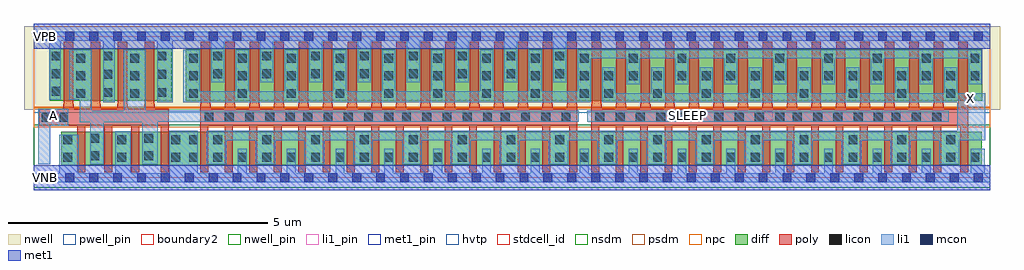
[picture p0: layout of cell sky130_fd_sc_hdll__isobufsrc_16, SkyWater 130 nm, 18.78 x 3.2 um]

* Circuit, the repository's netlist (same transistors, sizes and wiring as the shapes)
* Copyright 2020 The SkyWater PDK Authors
*
* Licensed under the Apache License, Version 2.0 (the "License");
* you may not use this file except in compliance with the License.
* You may obtain a copy of the License at
*
*     https://www.apache.org/licenses/LICENSE-2.0
*
* Unless required by applicable law or agreed to in writing, software
* distributed under the License is distributed on an "AS IS" BASIS,
* WITHOUT WARRANTIES OR CONDITIONS OF ANY KIND, either express or implied.
* See the License for the specific language governing permissions and
* limitations under the License.
*
* SPDX-License-Identifier: Apache-2.0

.SUBCKT sky130_fd_sc_hdll__isobufsrc_16 A SLEEP VGND VNB VPB VPWR X
*.PININFO A:I SLEEP:I VGND:I VNB:I VPB:I VPWR:I X:O
MMP0 VPWR Ab sndPA VPB sky130_fd_pr__pfet_01v8_hvt m=16 w=1.0U l=0.18U mult=1 sa=0.265
+ sb=0.265 sd=0.28 area=0.063 perim=1.14
MMP1 sndPA SLEEP X VPB sky130_fd_pr__pfet_01v8_hvt m=16 w=1.0U l=0.18U mult=1 sa=0.265
+ sb=0.265 sd=0.28 area=0.063 perim=1.14
MMIP1 Ab A VPWR VPB sky130_fd_pr__pfet_01v8_hvt m=4 w=1.0U l=0.18U mult=1 sa=0.265
+ sb=0.265 sd=0.28 area=0.063 perim=1.14
MMN0 X SLEEP VGND VNB sky130_fd_pr__nfet_01v8 m=16 w=0.65U l=0.15U mult=1 sa=0.265
+ sb=0.265 sd=0.28 area=0.063 perim=1.14
MMN1 X Ab VGND VNB sky130_fd_pr__nfet_01v8 m=16 w=0.65U l=0.15U mult=1 sa=0.265
+ sb=0.265 sd=0.28 area=0.063 perim=1.14
MMIN1 Ab A VGND VNB sky130_fd_pr__nfet_01v8 m=4 w=0.65U l=0.15U mult=1 sa=0.265
+ sb=0.265 sd=0.28 area=0.063 perim=1.14
.ENDS sky130_fd_sc_hdll__isobufsrc_16

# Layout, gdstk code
import gdstk
lib = gdstk.Library(unit=1e-6, precision=1e-09)
def R(c, l, rs):  # rectangles x0, y0, x1, y1
    for r in rs: c.add(gdstk.rectangle(r[:2], r[2:], *l))
def A(c, l, x, y, w, h, nx, ny, dx, dy):  # array of equal rectangles
    R(c, l, [(x+i*dx, y+j*dy, x+i*dx+w, y+j*dy+h) for i in range(nx) for j in range(ny)])
def P(c, l, *ps):  # polygons
    for p in ps: c.add(gdstk.Polygon(p, *l))
nwell_pin = (64, 16)
nwell = (64, 20)
diff = (65, 20)
poly = (66, 20)
licon = (66, 44)
li1_pin = (67, 16)
li1 = (67, 20)
mcon = (67, 44)
met1_pin = (68, 16)
met1 = (68, 20)
hvtp = (78, 44)
stdcell_id = (81, 4)
nsdm = (93, 44)
psdm = (94, 20)
npc = (95, 20)
pwell_pin = (122, 16)
boundary2 = (236, 0)

sky130_fd_sc_hdll__isobu = lib.new_cell('sky130_fd_sc_hdll__isobufsrc_16')
R(sky130_fd_sc_hdll__isobu, nwell_pin, [(0.145,2.635,0.315,2.805)])
R(sky130_fd_sc_hdll__isobu, nwell, [(-0.19,1.305,18.59,2.91)])
R(sky130_fd_sc_hdll__isobu, diff, [(0.525,0.235,18.235,0.885), (0.305,1.485,2.655,2.485), (2.925,1.485,18.245,2.485)])
P(sky130_fd_sc_hdll__isobu, poly, [(2.595,1.325),(2.325,1.325),(2.325,1.41),(2.315,1.41),(2.315,2.615),(2.135,2.615),(2.135,1.41),(2.125,1.41),(2.125,1.325),(1.805,1.325),(1.805,1.41),(1.795,1.41),(1.795,2.615),(1.615,2.615),(1.615,1.41),(1.605,1.41),(1.605,1.325),(1.285,1.325),(1.285,1.41),(1.275,1.41),(1.275,2.615),(1.095,2.615),(1.095,1.41),(1.085,1.41),(1.085,1.325),(0.765,1.325),(0.765,1.41),(0.755,1.41),(0.755,2.615),(0.575,2.615),(0.575,1.41),(0.565,1.41),(0.565,1.325),(0.105,1.325),(0.105,0.995),(0.835,0.995),(0.835,0.105),(0.985,0.105),(0.985,0.995),(1.355,0.995),(1.355,0.105),(1.505,0.105),(1.505,0.995),(1.875,0.995),(1.875,0.105),(2.025,0.105),(2.025,0.995),(2.445,0.995),(2.445,0.105),(2.595,0.105)],
  [(10.455,1.41),(10.445,1.41),(10.445,2.615),(10.265,2.615),(10.265,1.41),(10.255,1.41),(10.255,1.325),(9.985,1.325),(9.985,1.41),(9.975,1.41),(9.975,2.615),(9.795,2.615),(9.795,1.41),(9.785,1.41),(9.785,1.325),(9.515,1.325),(9.515,1.41),(9.505,1.41),(9.505,2.615),(9.325,2.615),(9.325,1.41),(9.315,1.41),(9.315,1.325),(9.045,1.325),(9.045,1.41),(9.035,1.41),(9.035,2.615),(8.855,2.615),(8.855,1.41),(8.845,1.41),(8.845,1.325),(8.575,1.325),(8.575,1.41),(8.565,1.41),(8.565,2.615),(8.385,2.615),(8.385,1.41),(8.375,1.41),(8.375,1.325),(8.105,1.325),(8.105,1.41),(8.095,1.41),(8.095,2.615),(7.915,2.615),(7.915,1.41),(7.905,1.41),(7.905,1.325),(7.635,1.325),(7.635,1.41),(7.625,1.41),(7.625,2.615),(7.445,2.615),(7.445,1.41),(7.435,1.41),(7.435,1.325),(7.165,1.325),(7.165,1.41),(7.155,1.41),(7.155,2.615),(6.975,2.615),(6.975,1.41),(6.965,1.41),(6.965,1.325),(6.695,1.325),(6.695,1.41),(6.685,1.41),(6.685,2.615),(6.505,2.615),(6.505,1.41),(6.495,1.41),(6.495,1.325),(6.225,1.325),(6.225,1.41),(6.215,1.41),(6.215,2.615),(6.035,2.615),(6.035,1.41),(6.025,1.41),(6.025,1.325),(5.755,1.325),(5.755,1.41),(5.745,1.41),(5.745,2.615),(5.565,2.615),(5.565,1.41),(5.555,1.41),(5.555,1.325),(5.285,1.325),(5.285,1.41),(5.275,1.41),(5.275,2.615),(5.095,2.615),(5.095,1.41),(5.085,1.41),(5.085,1.325),(4.815,1.325),(4.815,1.41),(4.805,1.41),(4.805,2.615),(4.625,2.615),(4.625,1.41),(4.615,1.41),(4.615,1.325),(4.345,1.325),(4.345,1.41),(4.335,1.41),(4.335,2.615),(4.155,2.615),(4.155,1.41),(4.145,1.41),(4.145,1.325),(3.875,1.325),(3.875,1.41),(3.865,1.41),(3.865,2.615),(3.685,2.615),(3.685,1.41),(3.675,1.41),(3.675,1.325),(3.405,1.325),(3.405,1.41),(3.395,1.41),(3.395,2.615),(3.215,2.615),(3.215,1.41),(3.205,1.41),(3.205,0.105),(3.355,0.105),(3.355,0.995),(3.675,0.995),(3.675,0.105),(3.825,0.105),(3.825,0.995),(4.145,0.995),(4.145,0.105),(4.295,0.105),(4.295,0.995),(4.615,0.995),(4.615,0.105),(4.765,0.105),(4.765,0.995),(5.085,0.995),(5.085,0.105),(5.235,0.105),(5.235,0.995),(5.555,0.995),(5.555,0.105),(5.705,0.105),(5.705,0.995),(6.025,0.995),(6.025,0.105),(6.175,0.105),(6.175,0.995),(6.495,0.995),(6.495,0.105),(6.645,0.105),(6.645,0.995),(6.965,0.995),(6.965,0.105),(7.115,0.105),(7.115,0.995),(7.435,0.995),(7.435,0.105),(7.585,0.105),(7.585,0.995),(7.905,0.995),(7.905,0.105),(8.055,0.105),(8.055,0.995),(8.375,0.995),(8.375,0.105),(8.525,0.105),(8.525,0.995),(8.845,0.995),(8.845,0.105),(8.995,0.105),(8.995,0.995),(9.315,0.995),(9.315,0.105),(9.465,0.105),(9.465,0.995),(9.785,0.995),(9.785,0.105),(9.935,0.105),(9.935,0.995),(10.305,0.995),(10.305,0.105),(10.455,0.105)],
  [(17.975,1.41),(17.965,1.41),(17.965,2.615),(17.785,2.615),(17.785,1.41),(17.775,1.41),(17.775,1.325),(17.505,1.325),(17.505,1.41),(17.495,1.41),(17.495,2.615),(17.315,2.615),(17.315,1.41),(17.305,1.41),(17.305,1.325),(17.035,1.325),(17.035,1.41),(17.025,1.41),(17.025,2.615),(16.845,2.615),(16.845,1.41),(16.835,1.41),(16.835,1.325),(16.565,1.325),(16.565,1.41),(16.555,1.41),(16.555,2.615),(16.375,2.615),(16.375,1.41),(16.365,1.41),(16.365,1.325),(16.095,1.325),(16.095,1.41),(16.085,1.41),(16.085,2.615),(15.905,2.615),(15.905,1.41),(15.895,1.41),(15.895,1.325),(15.625,1.325),(15.625,1.41),(15.615,1.41),(15.615,2.615),(15.435,2.615),(15.435,1.41),(15.425,1.41),(15.425,1.325),(15.155,1.325),(15.155,1.41),(15.145,1.41),(15.145,2.615),(14.965,2.615),(14.965,1.41),(14.955,1.41),(14.955,1.325),(14.685,1.325),(14.685,1.41),(14.675,1.41),(14.675,2.615),(14.495,2.615),(14.495,1.41),(14.485,1.41),(14.485,1.325),(14.215,1.325),(14.215,1.41),(14.205,1.41),(14.205,2.615),(14.025,2.615),(14.025,1.41),(14.015,1.41),(14.015,1.325),(13.745,1.325),(13.745,1.41),(13.735,1.41),(13.735,2.615),(13.555,2.615),(13.555,1.41),(13.545,1.41),(13.545,1.325),(13.275,1.325),(13.275,1.41),(13.265,1.41),(13.265,2.615),(13.085,2.615),(13.085,1.41),(13.075,1.41),(13.075,1.325),(12.805,1.325),(12.805,1.41),(12.795,1.41),(12.795,2.615),(12.615,2.615),(12.615,1.41),(12.605,1.41),(12.605,1.325),(12.335,1.325),(12.335,1.41),(12.325,1.41),(12.325,2.615),(12.145,2.615),(12.145,1.41),(12.135,1.41),(12.135,1.325),(11.865,1.325),(11.865,1.41),(11.855,1.41),(11.855,2.615),(11.675,2.615),(11.675,1.41),(11.665,1.41),(11.665,1.325),(11.395,1.325),(11.395,1.41),(11.385,1.41),(11.385,2.615),(11.205,2.615),(11.205,1.41),(11.195,1.41),(11.195,1.325),(10.925,1.325),(10.925,1.41),(10.915,1.41),(10.915,2.615),(10.735,2.615),(10.735,1.41),(10.725,1.41),(10.725,0.105),(10.875,0.105),(10.875,0.995),(11.195,0.995),(11.195,0.105),(11.345,0.105),(11.345,0.995),(11.665,0.995),(11.665,0.105),(11.815,0.105),(11.815,0.995),(12.135,0.995),(12.135,0.105),(12.285,0.105),(12.285,0.995),(12.605,0.995),(12.605,0.105),(12.755,0.105),(12.755,0.995),(13.075,0.995),(13.075,0.105),(13.225,0.105),(13.225,0.995),(13.545,0.995),(13.545,0.105),(13.695,0.105),(13.695,0.995),(14.015,0.995),(14.015,0.105),(14.165,0.105),(14.165,0.995),(14.485,0.995),(14.485,0.105),(14.635,0.105),(14.635,0.995),(14.955,0.995),(14.955,0.105),(15.105,0.105),(15.105,0.995),(15.425,0.995),(15.425,0.105),(15.575,0.105),(15.575,0.995),(15.895,0.995),(15.895,0.105),(16.045,0.105),(16.045,0.995),(16.365,0.995),(16.365,0.105),(16.515,0.105),(16.515,0.995),(16.835,0.995),(16.835,0.105),(16.985,0.105),(16.985,0.995),(17.305,0.995),(17.305,0.105),(17.455,0.105),(17.455,0.995),(17.825,0.995),(17.825,0.105),(17.975,0.105)])
A(sky130_fd_sc_hdll__isobu, licon, 0.565, 0.305, 0.17, 0.17, 3, 2, 1.04, 0.34)
A(sky130_fd_sc_hdll__isobu, licon, 2.985, 0.305, 0.17, 0.17, 33, 1, 0.47, 0)
A(sky130_fd_sc_hdll__isobu, licon, 3.455, 0.645, 0.17, 0.17, 16, 1, 0.94, 0)
A(sky130_fd_sc_hdll__isobu, licon, 3.285, 1.075, 0.17, 0.17, 5, 1, 0.39, 0)
A(sky130_fd_sc_hdll__isobu, licon, 5.185, 1.075, 0.17, 0.17, 5, 1, 0.39, 0)
A(sky130_fd_sc_hdll__isobu, licon, 7.085, 1.075, 0.17, 0.17, 5, 1, 0.39, 0)
A(sky130_fd_sc_hdll__isobu, licon, 8.985, 1.075, 0.17, 0.17, 4, 1, 0.39, 0)
A(sky130_fd_sc_hdll__isobu, licon, 10.805, 1.075, 0.17, 0.17, 5, 1, 0.39, 0)
A(sky130_fd_sc_hdll__isobu, licon, 12.705, 1.075, 0.17, 0.17, 5, 1, 0.39, 0)
A(sky130_fd_sc_hdll__isobu, licon, 14.605, 1.075, 0.17, 0.17, 5, 1, 0.39, 0)
A(sky130_fd_sc_hdll__isobu, licon, 16.505, 1.075, 0.17, 0.17, 3, 1, 0.39, 0)
A(sky130_fd_sc_hdll__isobu, licon, 0.815, 1.535, 0.17, 0.17, 1, 3, 0, 0.34)
A(sky130_fd_sc_hdll__isobu, licon, 1.855, 1.535, 0.17, 0.17, 1, 3, 0, 0.34)
A(sky130_fd_sc_hdll__isobu, licon, 2.985, 1.535, 0.17, 0.17, 9, 2, 0.94, 0.34)
A(sky130_fd_sc_hdll__isobu, licon, 10.975, 1.535, 0.17, 0.17, 8, 1, 0.94, 0)
A(sky130_fd_sc_hdll__isobu, licon, 1.335, 1.555, 0.17, 0.17, 1, 3, 0, 0.35)
A(sky130_fd_sc_hdll__isobu, licon, 2.375, 1.555, 0.17, 0.17, 1, 3, 0, 0.35)
A(sky130_fd_sc_hdll__isobu, licon, 0.345, 1.575, 0.17, 0.17, 1, 3, 0, 0.34)
A(sky130_fd_sc_hdll__isobu, licon, 10.975, 1.875, 0.17, 0.17, 16, 1, 0.47, 0)
A(sky130_fd_sc_hdll__isobu, licon, 3.455, 1.915, 0.17, 0.17, 8, 2, 0.94, 0.34)
A(sky130_fd_sc_hdll__isobu, licon, 2.985, 2.215, 0.17, 0.17, 17, 1, 0.94, 0)
R(sky130_fd_sc_hdll__isobu, licon, [(1.085,0.335,1.255,0.505), (2.125,0.335,2.295,0.505), (2.985,0.645,3.155,0.815), (1.085,0.675,1.255,0.845), (2.125,0.675,2.295,0.845), (0.155,1.075,0.325,1.245), (0.495,1.075,0.665,1.245)])
R(sky130_fd_sc_hdll__isobu, li1_pin, [(0.295,1.105,0.465,1.275), (14.045,1.105,14.215,1.275), (17.92,1.445,18.09,1.615)])
R(sky130_fd_sc_hdll__isobu, li1, [(10.65,1.075,17.6,1.285)])
P(sky130_fd_sc_hdll__isobu, li1, [(0.665,1.325),(0.085,1.325),(0.085,0.255),(0.315,0.255),(0.315,0.995),(0.665,0.995)],
  [(10.48,1.285),(2.155,1.285),(2.155,2.465),(1.725,2.465),(1.725,1.285),(1.115,1.285),(1.115,2.465),(0.685,2.465),(0.685,1.495),(0.885,1.495),(0.885,1.065),(1.085,1.065),(1.085,0.255),(1.345,0.255),(1.345,1.065),(2.085,1.065),(2.085,0.255),(2.385,0.255),(2.385,1.075),(10.48,1.075)],
  [(18.235,2.465),(10.465,2.465),(10.465,1.665),(9.775,1.665),(9.775,2.465),(9.525,2.465),(9.525,1.665),(8.835,1.665),(8.835,2.465),(8.585,2.465),(8.585,1.665),(7.895,1.665),(7.895,2.465),(7.645,2.465),(7.645,1.665),(6.955,1.665),(6.955,2.465),(6.705,2.465),(6.705,1.665),(6.015,1.665),(6.015,2.465),(5.765,2.465),(5.765,1.665),(5.075,1.665),(5.075,2.465),(4.825,2.465),(4.825,1.665),(4.135,1.665),(4.135,2.465),(3.885,2.465),(3.885,1.665),(3.195,1.665),(3.195,2.465),(2.875,2.465),(2.875,1.455),(10.715,1.455),(10.715,2.295),(11.405,2.295),(11.405,1.795),(11.655,1.795),(11.655,2.295),(12.345,2.295),(12.345,1.795),(12.595,1.795),(12.595,2.295),(13.285,2.295),(13.285,1.795),(13.535,1.795),(13.535,2.295),(14.225,2.295),(14.225,1.795),(14.475,1.795),(14.475,2.295),(15.165,2.295),(15.165,1.795),(15.415,1.795),(15.415,2.295),(16.105,2.295),(16.105,1.795),(16.355,1.795),(16.355,2.295),(17.045,2.295),(17.045,1.795),(17.295,1.795),(17.295,2.295),(17.985,2.295),(17.985,1.795),(18.235,1.795)],
  [(18.4,2.805),(0,2.805),(0,2.635),(0.3,2.635),(0.3,1.495),(0.515,1.495),(0.515,2.635),(1.335,2.635),(1.335,1.455),(1.555,1.455),(1.555,2.635),(2.375,2.635),(2.375,1.455),(2.67,1.455),(2.67,2.635),(3.415,2.635),(3.415,1.835),(3.665,1.835),(3.665,2.635),(4.355,2.635),(4.355,1.835),(4.605,1.835),(4.605,2.635),(5.295,2.635),(5.295,1.835),(5.545,1.835),(5.545,2.635),(6.235,2.635),(6.235,1.835),(6.485,1.835),(6.485,2.635),(7.175,2.635),(7.175,1.835),(7.425,1.835),(7.425,2.635),(8.115,2.635),(8.115,1.835),(8.365,1.835),(8.365,2.635),(9.055,2.635),(9.055,1.835),(9.305,1.835),(9.305,2.635),(9.995,2.635),(9.995,1.835),(10.245,1.835),(10.245,2.635),(18.4,2.635)],
  [(18.4,0.085),(18.295,0.085),(18.295,0.555),(18.025,0.555),(18.025,0.085),(17.255,0.085),(17.255,0.555),(17.085,0.555),(17.085,0.085),(16.315,0.085),(16.315,0.555),(16.145,0.555),(16.145,0.085),(15.375,0.085),(15.375,0.555),(15.205,0.555),(15.205,0.085),(14.435,0.085),(14.435,0.555),(14.265,0.555),(14.265,0.085),(13.495,0.085),(13.495,0.555),(13.325,0.555),(13.325,0.085),(12.555,0.085),(12.555,0.555),(12.385,0.555),(12.385,0.085),(11.615,0.085),(11.615,0.555),(11.445,0.555),(11.445,0.085),(10.675,0.085),(10.675,0.555),(10.505,0.555),(10.505,0.085),(9.735,0.085),(9.735,0.555),(9.565,0.555),(9.565,0.085),(8.795,0.085),(8.795,0.555),(8.625,0.555),(8.625,0.085),(7.855,0.085),(7.855,0.555),(7.685,0.555),(7.685,0.085),(6.915,0.085),(6.915,0.555),(6.745,0.555),(6.745,0.085),(5.975,0.085),(5.975,0.555),(5.805,0.555),(5.805,0.085),(5.035,0.085),(5.035,0.555),(4.865,0.555),(4.865,0.085),(4.095,0.085),(4.095,0.555),(3.925,0.555),(3.925,0.085),(3.155,0.085),(3.155,0.905),(2.605,0.905),(2.605,0.085),(1.865,0.085),(1.865,0.895),(1.565,0.895),(1.565,0.085),(0.865,0.085),(0.865,0.825),(0.485,0.825),(0.485,0.085),(0,0.085),(0,-0.085),(18.4,-0.085)],
  [(18.305,1.625),(17.765,1.625),(17.765,2.125),(17.515,2.125),(17.515,1.625),(16.825,1.625),(16.825,2.125),(16.575,2.125),(16.575,1.625),(15.885,1.625),(15.885,2.125),(15.635,2.125),(15.635,1.625),(14.945,1.625),(14.945,2.125),(14.695,2.125),(14.695,1.625),(14.005,1.625),(14.005,2.125),(13.755,2.125),(13.755,1.625),(13.065,1.625),(13.065,2.125),(12.815,2.125),(12.815,1.625),(12.125,1.625),(12.125,2.125),(11.875,2.125),(11.875,1.625),(11.185,1.625),(11.185,2.125),(10.935,2.125),(10.935,1.455),(17.77,1.455),(17.77,0.905),(3.325,0.905),(3.325,0.255),(3.705,0.255),(3.705,0.725),(4.265,0.725),(4.265,0.255),(4.645,0.255),(4.645,0.725),(5.205,0.725),(5.205,0.255),(5.585,0.255),(5.585,0.725),(6.145,0.725),(6.145,0.255),(6.525,0.255),(6.525,0.725),(7.085,0.725),(7.085,0.255),(7.465,0.255),(7.465,0.725),(8.025,0.725),(8.025,0.255),(8.405,0.255),(8.405,0.725),(8.965,0.725),(8.965,0.255),(9.345,0.255),(9.345,0.725),(9.905,0.725),(9.905,0.255),(10.285,0.255),(10.285,0.725),(10.845,0.725),(10.845,0.255),(11.225,0.255),(11.225,0.725),(11.785,0.725),(11.785,0.255),(12.165,0.255),(12.165,0.725),(12.725,0.725),(12.725,0.255),(13.105,0.255),(13.105,0.725),(13.665,0.725),(13.665,0.255),(14.045,0.255),(14.045,0.725),(14.605,0.725),(14.605,0.255),(14.985,0.255),(14.985,0.725),(15.545,0.725),(15.545,0.255),(15.925,0.255),(15.925,0.725),(16.485,0.725),(16.485,0.255),(16.865,0.255),(16.865,0.725),(17.425,0.725),(17.425,0.255),(17.805,0.255),(17.805,0.725),(18.305,0.725)])
A(sky130_fd_sc_hdll__isobu, mcon, 0.145, -0.085, 0.17, 0.17, 40, 2, 0.46, 2.72)
R(sky130_fd_sc_hdll__isobu, met1_pin, [(0.145,-0.085,0.315,0.085), (0.145,2.635,0.315,2.805)])
R(sky130_fd_sc_hdll__isobu, met1, [(0,-0.24,18.4,0.24), (0,2.48,18.4,2.96)])
R(sky130_fd_sc_hdll__isobu, hvtp, [(0,1.25,18.4,2.72)])
R(sky130_fd_sc_hdll__isobu, stdcell_id, [(0,0,18.4,2.72)])
R(sky130_fd_sc_hdll__isobu, nsdm, [(0,-0.19,18.4,1.015)])
R(sky130_fd_sc_hdll__isobu, psdm, [(0,1.355,18.4,2.91)])
R(sky130_fd_sc_hdll__isobu, npc, [(0,0.975,18.4,1.345)])
R(sky130_fd_sc_hdll__isobu, pwell_pin, [(0.145,-0.085,0.315,0.085)])
R(sky130_fd_sc_hdll__isobu, boundary2, [(0,0,18.4,2.72)])
sky130_fd_sc_hdll__isobu.add(gdstk.Label('A', (0.38,1.19), layer=67, texttype=5))
sky130_fd_sc_hdll__isobu.add(gdstk.Label('X', (18.025,1.53), layer=67, texttype=5))
sky130_fd_sc_hdll__isobu.add(gdstk.Label('SLEEP', (12.58,1.19), layer=67, texttype=5))
sky130_fd_sc_hdll__isobu.add(gdstk.Label('VPB', (0.23,2.72), layer=64, texttype=5))
sky130_fd_sc_hdll__isobu.add(gdstk.Label('VNB', (0.23,0), layer=64, texttype=59))
sky130_fd_sc_hdll__isobu.add(gdstk.Label('VGND', (0.23,0), layer=68, texttype=5))
sky130_fd_sc_hdll__isobu.add(gdstk.Label('VPWR', (0.23,2.72), layer=68, texttype=5))
sky130_fd_sc_hdll__isobu.add(gdstk.Label('sky130_fd_sc_hdll__lpflow_isobufsrc_16', (0,0), layer=83, texttype=44))

lib.write_gds('sky130_fd_sc_hdll__isobufsrc_16.gds')
